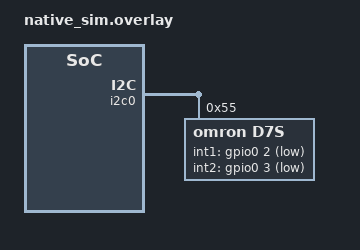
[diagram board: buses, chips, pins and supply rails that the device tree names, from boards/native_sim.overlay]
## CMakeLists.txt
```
# SPDX-FileCopyrightText: Copyright RAKwireless Technology Limited
# SPDX-License-Identifier: Apache-2.0

cmake_minimum_required(VERSION 3.20.0)
find_package(Zephyr REQUIRED HINTS $ENV{ZEPHYR_BASE})
project(d7s)

file(GLOB app_sources src/*.c)
target_sources(app PRIVATE ${app_sources})

zephyr_include_directories(${ZEPHYR_BASE}/drivers/sensor/omron/d7s)
```

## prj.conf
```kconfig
# SPDX-FileCopyrightText: Copyright RAKwireless Technology Limited
# SPDX-License-Identifier: Apache-2.0

CONFIG_ZTEST=y
CONFIG_I2C=y
CONFIG_GPIO=y
CONFIG_SENSOR=y
CONFIG_EMUL=y
CONFIG_D7S=y
CONFIG_D7S_TRIGGER_GLOBAL_THREAD=y
```

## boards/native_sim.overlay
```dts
/*
 * SPDX-FileCopyrightText: Copyright RAKwireless Technology Limited
 * SPDX-License-Identifier: Apache-2.0
 */

#include <zephyr/dt-bindings/gpio/gpio.h>

&i2c0 {
	status = "okay";

	d7s: d7s@55 {
		compatible = "omron,d7s";
		reg = <0x55>;
		int1-gpios = <&gpio0 2 GPIO_ACTIVE_LOW>;
		int2-gpios = <&gpio0 3 GPIO_ACTIVE_LOW>;
	};
};

/ {
	aliases {
		d7s = &d7s;
	};
};
```

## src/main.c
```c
/*
 * SPDX-FileCopyrightText: Copyright RAKwireless Technology Limited
 * SPDX-License-Identifier: Apache-2.0
 */

#include <zephyr/drivers/emul.h>
#include <zephyr/drivers/gpio.h>
#include <zephyr/drivers/gpio/gpio_emul.h>
#include <zephyr/drivers/sensor.h>
#include <zephyr/drivers/sensor/d7s.h>
#include <zephyr/ztest.h>

#include "d7s.h"

#define D7S_NODE DT_ALIAS(d7s)

#define INT1_PIN DT_GPIO_PIN(D7S_NODE, int1_gpios)
#define INT2_PIN DT_GPIO_PIN(D7S_NODE, int2_gpios)

static const struct device *const dev = DEVICE_DT_GET(D7S_NODE);
static const struct emul *const target = EMUL_DT_GET(D7S_NODE);
static const struct device *const gpio = DEVICE_DT_GET(DT_GPIO_CTLR(D7S_NODE, int1_gpios));

static struct {
	int threshold;
	int drdy;
} fired;

/* Sampled before any test mutates CTRL, so it still reflects what init wrote. */
static uint8_t init_ctrl;

static void trigger_handler(const struct device *sensor, const struct sensor_trigger *trig)
{
	ARG_UNUSED(sensor);

	switch (trig->type) {
	case SENSOR_TRIG_THRESHOLD:
		fired.threshold++;
		break;
	case SENSOR_TRIG_DATA_READY:
		fired.drdy++;
		break;
	default:
		break;
	}
}

static void *d7s_setup(void)
{
	zassert_true(device_is_ready(dev), "device not ready");
	zassert_true(device_is_ready(gpio), "gpio not ready");

	init_ctrl = d7s_emul_get_ctrl(target);

	return NULL;
}

static void d7s_before(void *fixture)
{
	ARG_UNUSED(fixture);

	memset(&fired, 0, sizeof(fired));

	d7s_emul_set_state(target, D7S_STATE_NORMAL_STANDBY);
	d7s_emul_set_event(target, 0);
	d7s_emul_set_record(target, 0, 0, 0, 0);

	/* Both pins are active low, so idle is physically high. */
	zassert_ok(gpio_emul_input_set(gpio, INT1_PIN, 1));
	zassert_ok(gpio_emul_input_set(gpio, INT2_PIN, 1));
}

ZTEST(d7s, test_init_applies_devicetree_ctrl)
{
	/* The binding defaults are "switch-at-install" and threshold "high". */
	zassert_equal(FIELD_GET(D7S_CTRL_AXIS_MASK, init_ctrl), D7S_AXIS_MODE_SWITCH_AT_INSTALL);
	zassert_equal(init_ctrl & D7S_CTRL_THRESHOLD, 0);
}

ZTEST(d7s, test_fetch_scales_to_tenths)
{
	struct sensor_value val;

	/* 123 -> 12.3 kine, 4567 -> 456.7 gal, -251 -> -25.1 degrees C. */
	d7s_emul_set_record(target, 0, 123, 4567, -251);

	zassert_ok(sensor_sample_fetch(dev));

	zassert_ok(sensor_channel_get(dev, (enum sensor_channel)SENSOR_CHAN_D7S_SI, &val));
	zassert_equal(val.val1, 12);
	zassert_equal(val.val2, 300000);

	zassert_ok(sensor_channel_get(dev, (enum sensor_channel)SENSOR_CHAN_D7S_PGA, &val));
	zassert_equal(val.val1, 456);
	zassert_equal(val.val2, 700000);

	zassert_ok(sensor_channel_get(dev, SENSOR_CHAN_DIE_TEMP, &val));
	zassert_equal(val.val1, -25);
	zassert_equal(val.val2, -100000);
}

ZTEST(d7s, test_unsupported_channel)
{
	struct sensor_value val;

	zassert_equal(sensor_channel_get(dev, SENSOR_CHAN_ACCEL_X, &val), -ENOTSUP);
	zassert_equal(sensor_sample_fetch_chan(dev, SENSOR_CHAN_ACCEL_X), -ENOTSUP);
}

ZTEST(d7s, test_event_read_clears)
{
	struct sensor_value val;

	d7s_emul_set_event(target, D7S_EVENT_SHUTOFF | D7S_EVENT_COLLAPSE);

	zassert_ok(sensor_attr_get(dev, SENSOR_CHAN_ALL,
				   (enum sensor_attribute)SENSOR_ATTR_D7S_EVENT, &val));
	zassert_equal(val.val1, D7S_EVENT_SHUTOFF | D7S_EVENT_COLLAPSE);

	zassert_ok(sensor_attr_get(dev, SENSOR_CHAN_ALL,
				   (enum sensor_attribute)SENSOR_ATTR_D7S_EVENT, &val));
	zassert_equal(val.val1, 0, "EVENT must be cleared by the read that reports it");
}

ZTEST(d7s, test_attr_axis_mode_roundtrip)
{
	struct sensor_value val = {.val1 = D7S_AXIS_MODE_XZ};

	zassert_ok(sensor_attr_set(dev, SENSOR_CHAN_ALL,
				   (enum sensor_attribute)SENSOR_ATTR_D7S_AXIS_MODE, &val));

	val.val1 = 0;
	zassert_ok(sensor_attr_get(dev, SENSOR_CHAN_ALL,
				   (enum sensor_attribute)SENSOR_ATTR_D7S_AXIS_MODE, &val));
	zassert_equal(val.val1, D7S_AXIS_MODE_XZ);

	val.val1 = D7S_AXIS_MODE_SWITCH_AT_INSTALL + 1;
	zassert_equal(sensor_attr_set(dev, SENSOR_CHAN_ALL,
				      (enum sensor_attribute)SENSOR_ATTR_D7S_AXIS_MODE, &val),
		      -EINVAL);
}

ZTEST(d7s, test_attr_shutoff_threshold_roundtrip)
{
	struct sensor_value val = {.val1 = D7S_SHUTOFF_THRESHOLD_LOW};

	zassert_ok(sensor_attr_set(dev, SENSOR_CHAN_ALL,
				   (enum sensor_attribute)SENSOR_ATTR_D7S_SHUTOFF_THRESHOLD, &val));
	zassert_not_equal(d7s_emul_get_ctrl(target) & D7S_CTRL_THRESHOLD, 0);

	val.val1 = 0;
	zassert_ok(sensor_attr_get(dev, SENSOR_CHAN_ALL,
				   (enum sensor_attribute)SENSOR_ATTR_D7S_SHUTOFF_THRESHOLD, &val));
	zassert_equal(val.val1, D7S_SHUTOFF_THRESHOLD_LOW);
}

ZTEST(d7s, test_mode_change_rejected_while_busy)
{
	struct sensor_value val = {0};

	d7s_emul_set_state(target, D7S_STATE_SELF_DIAGNOSTIC);

	zassert_equal(sensor_attr_set(dev, SENSOR_CHAN_ALL,
				      (enum sensor_attribute)SENSOR_ATTR_D7S_SELFTEST, &val),
		      -EBUSY);

	d7s_emul_set_state(target, D7S_STATE_NORMAL_STANDBY);
	zassert_ok(sensor_attr_set(dev, SENSOR_CHAN_ALL,
				   (enum sensor_attribute)SENSOR_ATTR_D7S_SELFTEST, &val));
}

ZTEST(d7s, test_trigger_threshold_on_int1_assert)
{
	struct sensor_trigger trig = {
		.type = SENSOR_TRIG_THRESHOLD,
		.chan = SENSOR_CHAN_ALL,
	};

	zassert_ok(sensor_trigger_set(dev, &trig, trigger_handler));

	zassert_ok(gpio_emul_input_set(gpio, INT1_PIN, 0));
	k_sleep(K_MSEC(10));

	zassert_equal(fired.threshold, 1);
	zassert_equal(fired.drdy, 0);

	zassert_ok(sensor_trigger_set(dev, &trig, NULL));
}

ZTEST(d7s, test_trigger_drdy_on_int2_release)
{
	struct sensor_trigger trig = {
		.type = SENSOR_TRIG_DATA_READY,
		.chan = SENSOR_CHAN_ALL,
	};

	zassert_ok(sensor_trigger_set(dev, &trig, trigger_handler));

	/* INT2 is asserted while the sensor calculates. */
	zassert_ok(gpio_emul_input_set(gpio, INT2_PIN, 0));
	k_sleep(K_MSEC(10));
	zassert_equal(fired.drdy, 0, "data must not be ready while the sensor is busy");

	zassert_ok(gpio_emul_input_set(gpio, INT2_PIN, 1));
	k_sleep(K_MSEC(10));
	zassert_equal(fired.drdy, 1);

	zassert_ok(sensor_trigger_set(dev, &trig, NULL));
}

ZTEST(d7s, test_trigger_unsupported)
{
	struct sensor_trigger trig = {
		.type = SENSOR_TRIG_TAP,
		.chan = SENSOR_CHAN_ALL,
	};

	zassert_equal(sensor_trigger_set(dev, &trig, trigger_handler), -ENOTSUP);
}

ZTEST_SUITE(d7s, NULL, d7s_setup, d7s_before, NULL, NULL);
```
